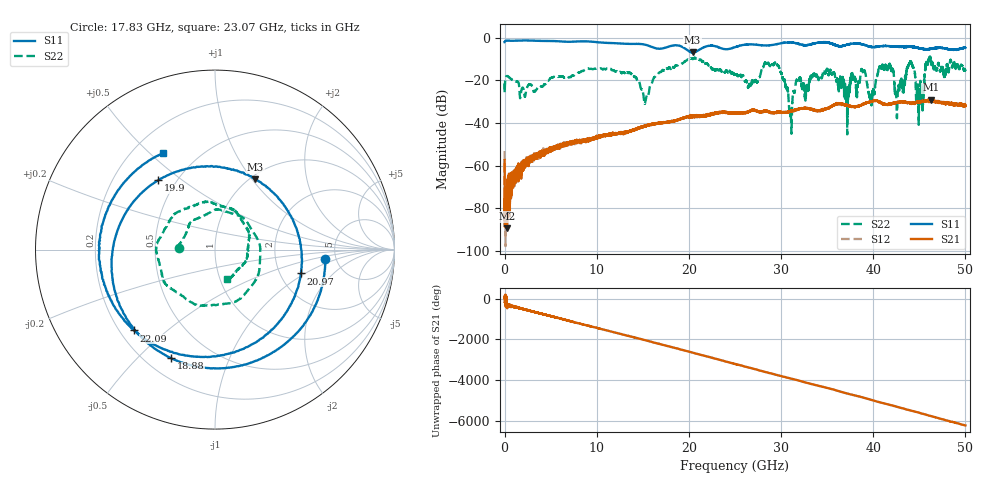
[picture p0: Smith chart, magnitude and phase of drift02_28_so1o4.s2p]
!Created with skrf (http://scikit-rf.org).
# Hz S RI R 50.0
!freq ReS11 ImS11 ReS21 ImS21 ReS12 ImS12 ReS22 ImS22
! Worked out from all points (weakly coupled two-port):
!   10001 points, 300 kHz to 50 GHz, reference 50 ohm
!   highest |S21| = -29.08 dB at 46.24 GHz (marker M1); lowest = -89.3 dB at 270.3 MHz (marker M2)
!   lowest |S11| = -6.9 dB at 20.39 GHz (marker M3), VSWR 2.64, Z = 52.7 + j51.8 ohm
!   |S11| at or under -10 dB: nowhere
!   |S22| runs from -45.3 to -8.9 dB; largest |S21 - S12| = 0.0028
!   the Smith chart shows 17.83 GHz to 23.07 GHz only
!   S11 on the Smith chart (normalised r, x): 17.83 GHz: 4.09, -0.68; 18.88 GHz: 0.30, -0.63; 19.9 GHz: 0.40, +0.41; 20.97 GHz: 2.61, -0.92; 22.09 GHz: 0.26, -0.39; 23.07 GHz: 0.32, +0.55
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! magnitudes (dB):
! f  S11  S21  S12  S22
! 300 kHz  -2.1  -57.4  -53.1  -21.5
! 270.3 MHz  -1.4  -89.3  -78.3  -18.0
! 8.335 GHz  -1.7  -48.4  -48.5  -15.8
! 15.31 GHz  -3.4  -41.2  -41.5  -29.2
! 16.67 GHz  -5.2  -40.1  -40.0  -16.9
! 17.83 GHz  -4.2  -39.7  -39.4  -13.9
! 18.88 GHz  -3.7  -38.3  -38.5  -12.6
! 19.9 GHz  -6.0  -37.1  -37.1  -10.2
! 20.39 GHz  -6.9  -36.7  -36.9  -10.0
! 20.97 GHz  -6.1  -36.9  -36.8  -9.7
! 22.09 GHz  -3.9  -35.8  -36.3  -12.8
! 23.07 GHz  -4.3  -35.2  -35.2  -15.0
! 25 GHz  -4.5  -35.5  -35.4  -17.4
! 29.5 GHz  -3.1  -34.9  -35.2  -12.6
! 31.03 GHz  -2.3  -34.4  -34.5  -36.9
! 33.34 GHz  -3.0  -33.5  -33.6  -18.0
! 38.91 GHz  -3.2  -31.1  -31.2  -16.2
! 39.74 GHz  -4.4  -30.0  -30.0  -29.8
! 41.67 GHz  -4.0  -31.1  -31.2  -13.6
! 45.15 GHz  -5.1  -30.0  -30.0  -22.8
! 46.24 GHz  -5.3  -29.1  -29.4  -10.9
! 50 GHz  -4.8  -32.0  -31.8  -15.6
